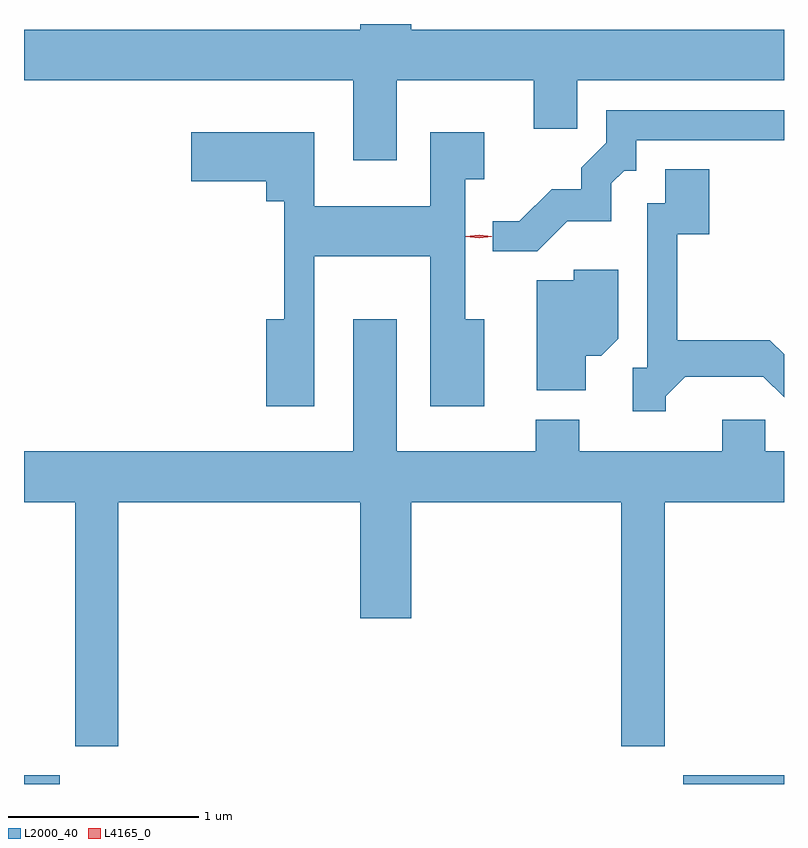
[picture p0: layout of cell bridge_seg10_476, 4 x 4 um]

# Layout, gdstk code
import gdstk
lib = gdstk.Library(unit=1e-6, precision=1e-09)
def R(c, l, rs):  # rectangles x0, y0, x1, y1
    for r in rs: c.add(gdstk.rectangle(r[:2], r[2:], *l))
def P(c, l, *ps):  # polygons
    for p in ps: c.add(gdstk.Polygon(p, *l))
L2000_40 = (2000, 40)
L4165_0 = (4165, 0)

bridge_seg10_476 = lib.new_cell('bridge_seg10_476')
R(bridge_seg10_476, L2000_40, [(892.627,2179.033,892.814,2179.079), (896.096,2179.033,896.627,2179.079)])
P(bridge_seg10_476, L2000_40, [(894.589,2182.736),(895.311,2182.736),(895.311,2182.481),(895.539,2182.481),(895.539,2182.736),(896.627,2182.736),(896.627,2183.004),(894.664,2183.004),(894.664,2183.033),(894.396,2183.033),(894.396,2183.004),(892.627,2183.004),(892.627,2182.736),(894.361,2182.736),(894.361,2182.316),(894.589,2182.316)],
  [(895.487,2181.996),(895.719,2181.996),(895.719,2182.194),(895.787,2182.261),(895.849,2182.261),(895.849,2182.421),(896.627,2182.421),(896.627,2182.579),(895.691,2182.579),(895.691,2182.407),(895.561,2182.277),(895.561,2182.164),(895.404,2182.164),(895.234,2181.994),(895.093,2181.994),(895.093,2181.836),(895.327,2181.836)],
  [(894.154,2181.811),(894.766,2181.811),(894.766,2181.021),(895.049,2181.021),(895.049,2181.479),(894.949,2181.479),(894.949,2182.216),(895.049,2182.216),(895.049,2182.464),(894.766,2182.464),(894.766,2182.074),(894.154,2182.074),(894.154,2182.464),(893.506,2182.464),(893.506,2182.206),(893.901,2182.206),(893.901,2182.101),(893.996,2182.101),(893.996,2181.479),(893.901,2181.479),(893.901,2181.021),(894.154,2181.021)],
  [(896.004,2181.074),(896.107,2181.176),(896.519,2181.176),(896.627,2181.068),(896.627,2181.294),(896.552,2181.369),(896.064,2181.369),(896.064,2181.926),(896.234,2181.926),(896.234,2182.269),(896.001,2182.269),(896.001,2182.089),(895.906,2182.089),(895.906,2181.224),(895.831,2181.224),(895.831,2180.996),(896.004,2180.996)],
  [(895.584,2181.286),(895.664,2181.286),(895.754,2181.377),(895.754,2181.739),(895.521,2181.739),(895.521,2181.684),(895.326,2181.684),(895.326,2181.106),(895.584,2181.106)],
  [(893.124,2180.516),(894.396,2180.516),(894.396,2179.906),(894.664,2179.906),(894.664,2180.516),(895.771,2180.516),(895.771,2179.231),(895.999,2179.231),(895.999,2180.516),(896.627,2180.516),(896.627,2180.784),(896.529,2180.784),(896.529,2180.949),(896.301,2180.949),(896.301,2180.784),(895.549,2180.784),(895.549,2180.949),(895.321,2180.949),(895.321,2180.784),(894.589,2180.784),(894.589,2181.479),(894.361,2181.479),(894.361,2180.784),(892.627,2180.784),(892.627,2180.516),(892.896,2180.516),(892.896,2179.231),(893.124,2179.231)])
P(bridge_seg10_476, L4165_0, [(895.022,2181.905),(894.953,2181.914),(894.952,2181.915),(894.953,2181.916),(895.022,2181.925),(895.09,2181.916),(895.09,2181.915),(895.09,2181.914)])

lib.write_gds('bridge_seg10_476.gds')
